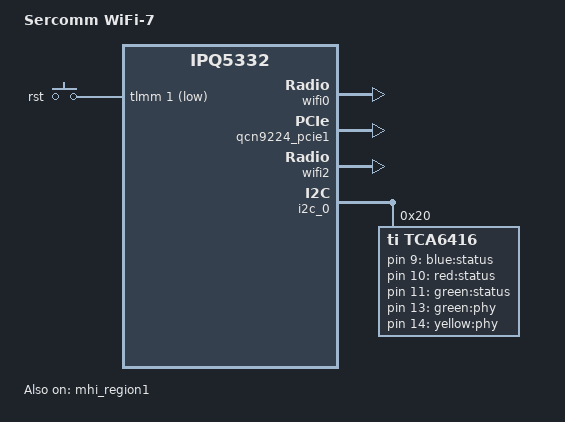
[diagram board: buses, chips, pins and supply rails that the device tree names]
// SPDX-License-Identifier: (GPL-2.0+ OR BSD-3-Clause)
/*
 * IPQ5332 AP-MI01.2 board device tree source
 *
 * Copyright (c) 2020-2021 The Linux Foundation. All rights reserved.
 * Copyright (c) 2022 Qualcomm Innovation Center, Inc. All rights reserved.
 */

/dts-v1/;


#ifdef __IPQ_MEM_PROFILE_512_MB__
#include "ipq5332-512MB-memory.dtsi"
#else
#include "ipq5332-default-memory.dtsi"
#endif

#include "ipq5332-sercomm-mi01.2.dtsi"

/ {
	#address-cells = <0x2>;
	#size-cells = <0x2>;
	model = "Sercomm WiFi-7";
	compatible = "sercomm,ap72tip", "qcom,ipq5332";
	interrupt-parent = <&intc>;

	aliases {
		led-boot = &led_power;
		led-failsafe = &led_power;
		led-running = &led_power;
		led-upgrade = &led_power;
	};

	soc {
		phy@4b0000 {
			status = "disabled";
		};


		pcie@20000000 {
			status = "disabled";
			pcie0_rp {
				reg = <0 0 0 0 0>;
				qcom,mhi@2 {
					reg = <0 0 0 0 0>;
					qti,disable-rddm-prealloc;
					qti,rddm-seg-len = <0x1000>;
#if defined(__CNSS2__)
					qrtr_node_id = <0x30>;
					memory-region = <0>, <&mhi_region0>;
#else
					memory-region = <&qcn9224_pcie0>;
					qcom,board_id = <0x15>;
					qcom,wsi = <&wsi>;
#endif
				};
			};
		};

		pinctrl@1000000 {
			button_pins: button_pins {
				rst_button {
					pins = "gpio1";
					function = "gpio";
					drive-strength = <8>;
					bias-pull-up;
				};
			};
		};

		gpio_keys {
			compatible = "gpio-keys";
			pinctrl-0 = <&button_pins>;
			pinctrl-names = "default";
			button@1 {
				label = "rst";
				linux,code = <KEY_RESTART>;
				gpios = <&tlmm 1 GPIO_ACTIVE_LOW>;
				linux,input-type = <1>;
				debounce-interval = <60>;
			};
		};

		leds {
			compatible = "gpio-leds";

			led@25 {
				label = "blue:status";
				gpios = <&tca6416 9 GPIO_ACTIVE_HIGH>;
				default-state = "off";
			};
			led@24 {
				label = "red:status";
				gpios = <&tca6416 10 GPIO_ACTIVE_HIGH>;
			};
			led_power: led@16 {
				label = "green:status";
				gpios = <&tca6416 11 GPIO_ACTIVE_HIGH>;
			};
			led@61 {
				label = "green:phy";
				gpios = <&tca6416 13 GPIO_ACTIVE_HIGH>;
			};
			led@62 {
				label = "yellow:phy";
				gpios = <&tca6416 14 GPIO_ACTIVE_HIGH>;
			};
		};
	};
};

&wifi0 {
	qcom,rproc = <&q6_wcss_pd1>;
	qcom,rproc_rpd = <&q6v5_wcss>;
	qcom,multipd_arch;
	qcom,userpd-subsys-name = "q6v5_wcss_userpd1";
#if defined(__CNSS2__)
	mem-region = <&q6_region>;
#else
	memory-region = <&q6_region>;
	qcom,wsi = <&wsi>;
#endif
	qcom,board_id = <0x16>; //orig:0x12->0x16
	status = "ok";
};

&qcn9224_pcie0 {
	status = "disabled";
};

&qcn9224_pcie1 {
	status = "ok";
};

&mhi_region0 {
	status = "disabled";
};

&mhi_region1 {
	status = "ok";
};

&wifi1 {
	/* QCN9224 radio 5G */
	hremote_node = <&qcn9224_pcie0>;
	board_id = <0x15>;
	status = "disabled";
};

&wifi2 {
	/* QCN9224 5G+6G */
	hremote_node = <&qcn9224_pcie1>;
	qcom,board_id = <0x100f>; //0x16->0x1019
	status = "ok";
};

&i2c_0 {
	tca6416: gpio@20 {
		compatible = "ti,tca6416";
		reg = <0x20>;
		gpio-controller;
		#gpio-cells = <2>;
	};
};
